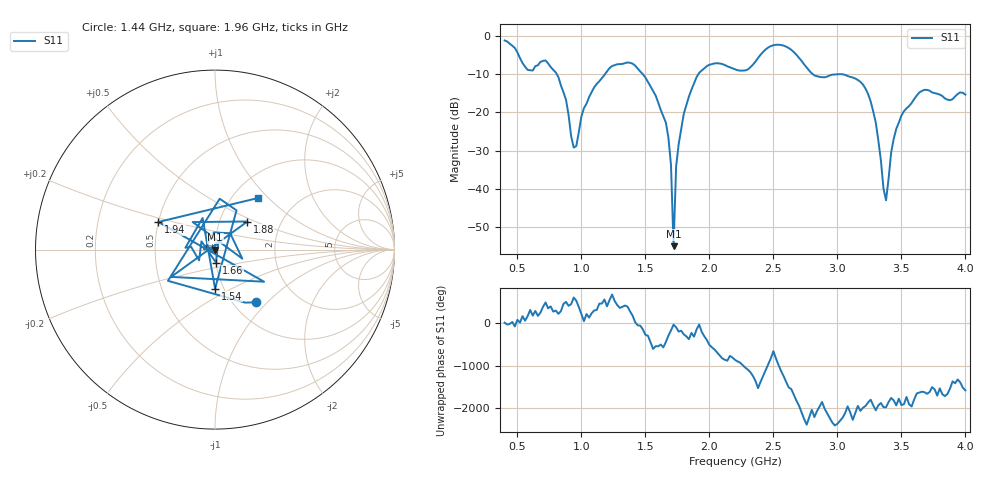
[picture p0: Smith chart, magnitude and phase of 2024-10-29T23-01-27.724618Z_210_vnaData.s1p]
!Created with skrf (http://scikit-rf.org).
# Hz S RI R 50.0
!freq ReS11 ImS11
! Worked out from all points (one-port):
!   181 points, 400 MHz to 4 GHz, reference 50 ohm
!   lowest |S11| = -55.0 dB at 1.72 GHz (marker M1), VSWR 1.00, Z = 50.1 - j0.107 ohm
!   |S11| at or under -10 dB: 806.6 MHz to 1.186 GHz (379.1 MHz wide, 38.1 % of centre); 1.479 GHz to 1.915 GHz (436.1 MHz wide, 25.7 % of centre); 2.806 GHz to end of sweep
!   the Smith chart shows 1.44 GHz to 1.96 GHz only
!   S11 on the Smith chart (normalised r, x): 1.44 GHz: 1.26, -0.86; 1.54 GHz: 0.91, -0.42; 1.66 GHz: 1.00, -0.15; 1.88 GHz: 1.35, +0.45; 1.94 GHz: 0.50, +0.18; 1.96 GHz: 1.30, +0.87
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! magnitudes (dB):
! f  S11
! 400 MHz  -1.2
! 580 MHz  -8.9
! 720 MHz  -6.5
! 860 MHz  -14.8
! 940 MHz  -29.2
! 1.1 GHz  -13.5
! 1.3 GHz  -7.4
! 1.44 GHz  -8.6
! 1.54 GHz  -13.3
! 1.66 GHz  -22.7
! 1.7 GHz  -33.8
! 1.72 GHz  -55.0
! 1.74 GHz  -34.2
! 1.76 GHz  -28.3
! 1.88 GHz  -12.4
! 1.94 GHz  -9.1
! 1.96 GHz  -8.5
! 2.2 GHz  -8.8
! 2.5 GHz  -2.5
! 2.66 GHz  -4.3
! 2.82 GHz  -10.4
! 3.1 GHz  -10.8
! 3.26 GHz  -17.2
! 3.38 GHz  -43.0
! 3.44 GHz  -26.9
! 3.56 GHz  -18.4
! 3.68 GHz  -14.1
! 4 GHz  -15.4
